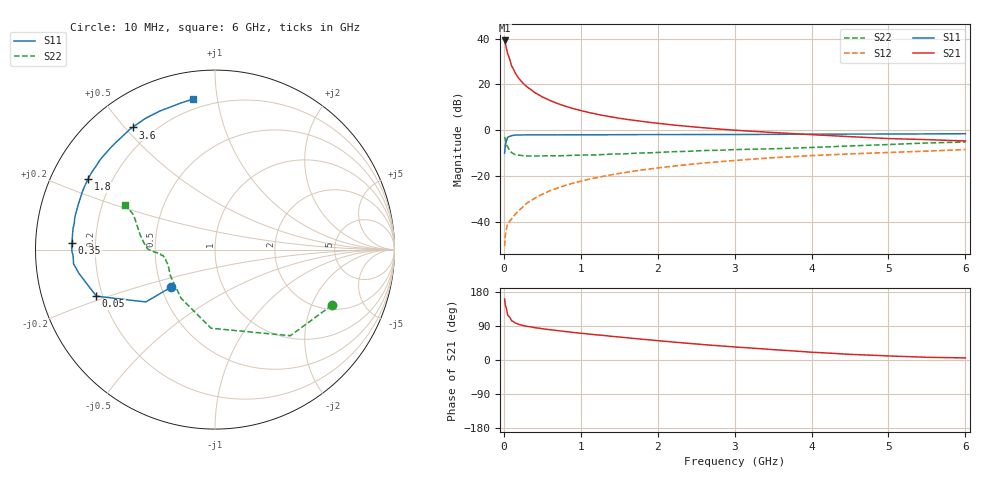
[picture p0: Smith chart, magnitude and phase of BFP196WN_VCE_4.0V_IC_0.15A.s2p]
! Infineon Technologies  Discrete & RF Semiconductors
! BFP196WN
! VCE =  4.0 V,  IC = 0.15 A
! Common Emitter S-Parameters:  Jan 2017
# GHz  S  MA  R  50
!  f  S11  S21  S12  S22
! GHz  MAG  ANG  MAG  ANG  MAG  ANG  MAG  ANG
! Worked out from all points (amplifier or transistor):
!   77 points, 10 MHz to 6 GHz, reference 50 ohm
!   highest |S21| = 39.2 dB at 10 MHz (marker M1)
!   |S21| within 3 dB of that: start of sweep to 31.05 MHz
!   unconditionally stable (mu >= 1): 272.3 MHz to 3.006 GHz
!   at 130 MHz: K = 0.83, MSG = 31.8 dB, |S12| = -37.3 dB
!   at 2.2 GHz: K = 1.04, MAG = 7.8 dB, |S12| = -15.6 dB
!   at 6 GHz: K = 0.94, MSG = 1.9 dB, |S12| = -8.4 dB
!   S11 on the Smith chart (normalised r, x): 10 MHz: 0.57, -0.26; 50 MHz: 0.18, -0.18; 350 MHz: 0.11, +0.02; 1.8 GHz: 0.11, +0.26; 3.6 GHz: 0.13, +0.53; 6 GHz: 0.14, +0.85
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0.01  0.3198 -139.4  91.13 161.0  0.003 74.8  0.7215 -25.4
0.02  0.4834 -142.9  76.97 144.3  0.0053 60.5  0.6375 -48.8
0.05  0.7102 -158.6  46.77 118.2  0.0092 50.4  0.4387 -92.9
0.1  0.7685 -169.9  25.62 103.7  0.0117 55.6  0.3308 -124.8
0.15  0.7922 -174.3  17.52 97.6  0.015 61.0  0.296 -140.6
0.2  0.7908 -177.4  13.21 93.7  0.0183 65.9  0.2884 -149.3
0.25  0.7971 -179.3  10.63 91.1  0.0216 67.0  0.2816 -154.1
0.3  0.7986 178.8  8.883 89.0  0.026 70.0  0.2772 -158.6
0.35  0.798 177.4  7.784 87.4  0.0295 71.4  0.2763 -160.7
0.4  0.7979 175.9  6.692 85.3  0.033 72.5  0.2758 -162.8
0.5  0.7983 173.6  5.362 82.5  0.0408 73.1  0.2787 -166.0
0.6  0.7997 171.5  4.48 79.9  0.0484 73.8  0.2806 -168.3
0.8  0.8008 167.6  3.364 75.1  0.0634 74.4  0.2816 -170.5
1.1  0.8019 162.3  2.467 68.6  0.0856 73.0  0.291 -173.3
1.4  0.8052 157.4  1.966 62.5  0.1078 71.2  0.3041 -174.9
1.8  0.8094 151.0  1.57 54.7  0.1375 68.0  0.3225 -176.8
2.1  0.8098 146.4  1.369 49.3  0.1589 65.5  0.3368 -177.7
3.1  0.8135 131.4  0.987 33.1  0.2274 56.4  0.3848 177.5
3.6  0.821 124.0  0.88 26.1  0.2593 51.9  0.4027 173.4
4.1  0.8272 117.0  0.791 19.5  0.287 47.2  0.4305 167.6
5.1  0.8336 106.2  0.657 10.0  0.3346 39.0  0.5 156.5
6  0.8468 98.4  0.588 5.5  0.3823 32.6  0.5575 153.6
